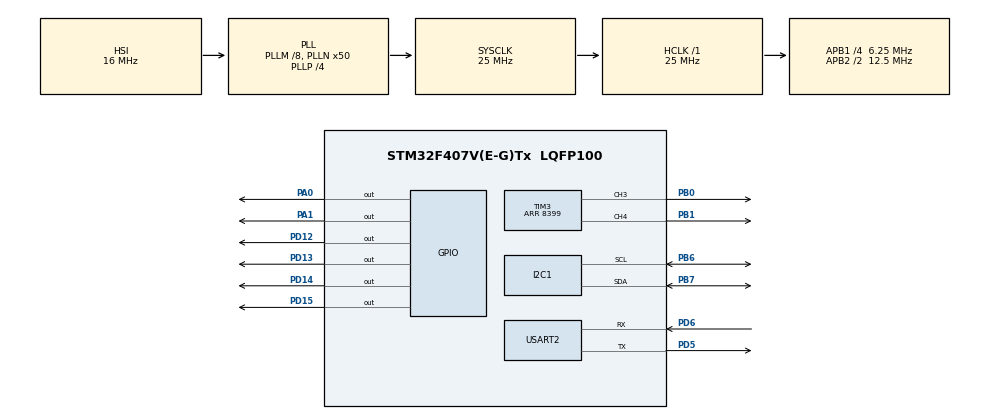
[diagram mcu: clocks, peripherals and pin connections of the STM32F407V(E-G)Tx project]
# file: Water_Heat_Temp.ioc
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FREERTOS.BinarySemaphores01=PID_TickSem,Dynamic,NULL,Available;Power_DoneSem,Dynamic,NULL,Available;BtnEventSem,Dynamic,NULL,Available;FaultTripSem,Dynamic,NULL,Available
FREERTOS.Mutexes01=LCD_Mutex,Dynamic,NULL,Available;UART_Mutex,Dynamic,NULL,Available;OneWire_Mutex,Dynamic,NULL,Available;PIDParam_Mutex,Dynamic,NULL,Available
FREERTOS.Queues01=TempQ,16,uint16_t,0,Dynamic,NULL,NULL;SetPointQ,16,uint16_t,0,Dynamic,NULL,NULL;PowerQ,16,uint16_t,0,Dynamic,NULL,NULL;FaultQ,16,uint16_t,0,Dynamic,NULL,NULL
FREERTOS.Tasks01=SafetyTask,24,256,StartSafetyTask,Default,NULL,Dynamic,NULL,NULL;PIDTask,8,256,StartPIDTask,Default,NULL,Dynamic,NULL,NULL;TempTask,8,256,StartTempTask,Default,NULL,Dynamic,NULL,NULL;PowerTask,8,256,StartPowerTask,Default,NULL,Dynamic,NULL,NULL;UITask,8,256,StartUITask,Default,NULL,Dynamic,NULL,NULL
FREERTOS.configUSE_NEWLIB_REENTRANT=1
Mcu.Family=STM32F4
Mcu.Name=STM32F407V(E-G)Tx
Mcu.Package=LQFP100
NVIC.PriorityGroup=NVIC_PRIORITYGROUP_4
NVIC.TIM6_DAC_IRQn=true\:0\:0\:false\:false\:true\:false\:false\:true\:true
NVIC.TimeBase=TIM6_DAC_IRQn
NVIC.TimeBaseIP=TIM6
PA0-WKUP.Signal=GPIO_Output
PA1.Signal=GPIO_Output
PB0.Signal=S_TIM3_CH3
PB1.Signal=S_TIM3_CH4
PB6.Mode=I2C
PB6.Signal=I2C1_SCL
PB7.Mode=I2C
PB7.Signal=I2C1_SDA
PD12.Signal=GPIO_Output
PD13.Signal=GPIO_Output
PD14.Signal=GPIO_Output
PD15.Signal=GPIO_Output
PD5.Mode=Asynchronous
PD5.Signal=USART2_TX
PD6.Mode=Asynchronous
PD6.Signal=USART2_RX
ProjectManager.HeapSize=0x200
ProjectManager.StackSize=0x400
ProjectManager.TargetToolchain=STM32CubeIDE
RCC.48MHZClocksFreq_Value=14285714.285714285
RCC.AHBFreq_Value=25000000
RCC.APB1CLKDivider=RCC_HCLK_DIV4
RCC.APB1Freq_Value=6250000
RCC.APB1TimFreq_Value=12500000
RCC.APB2CLKDivider=RCC_HCLK_DIV2
RCC.APB2Freq_Value=12500000
RCC.APB2TimFreq_Value=25000000
RCC.CortexFreq_Value=25000000
RCC.HCLKFreq_Value=25000000
RCC.HSE_VALUE=8000000
RCC.HSI_VALUE=16000000
RCC.LSE_VALUE=32768
RCC.PLLM=8
RCC.PLLN=50
RCC.PLLP=RCC_PLLP_DIV4
RCC.PLLQ=7
RCC.SYSCLKFreq_VALUE=25000000
RCC.SYSCLKSource=RCC_SYSCLKSOURCE_PLLCLK
RCC.VCOOutputFreq_Value=100000000
SH.S_TIM3_CH3.0=TIM3_CH3,PWM Generation3 CH3
SH.S_TIM3_CH4.0=TIM3_CH4,PWM Generation4 CH4
TIM3.Channel-PWM\ Generation3\ CH3=TIM_CHANNEL_3
TIM3.Channel-PWM\ Generation4\ CH4=TIM_CHANNEL_4
TIM3.Period=8399
USART2.VirtualMode=VM_ASYNC
VP_FREERTOS_VS_CMSIS_V2.Mode=CMSIS_V2
VP_SYS_VS_tim6.Mode=TIM6
board=STM32F407G-DISC1

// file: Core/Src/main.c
/* USER CODE BEGIN Header */
/**
 ******************************************************************************
 * @file           : main.c
 * @brief          : Main program body
 ******************************************************************************
 * @attention
 *
 * Copyright (c) 2025 STMicroelectronics.
 * All rights reserved.
 *
 * This software is licensed under terms that can be found in the LICENSE file
 * in the root directory of this software component.
 * If no LICENSE file comes with this software, it is provided AS-IS.
 *
 ******************************************************************************
 */
/* USER CODE END Header */
#include "main.h"
#include "cmsis_os.h"

/* USER CODE BEGIN Includes */
#include <stdio.h>
#include <string.h>
#include <math.h>

#include "lcd_i2c.h"   // I2C 16x2/20x4 LCD driver (LCD_Init, LCD_PrintAt, etc.)
#include "onewire.h"    // ONEWIRE_Init(), ONEWIRE_Reset(), byte/bit I/O, microsecond delays
#include "ds18b20.h"    // DS18B20_StartConversion_SkipROM(), DS18B20_ReadScratchpad()
#include "pid.h"
#include "bts7960_pwm.h"
#include "telemetry.h"

/* USER CODE END Includes */

/* USER CODE BEGIN PTD */

typedef enum {
	FAULT_NONE = 0,
	FAULT_OVERTEMP,
	FAULT_OVERCURRENT,
	FAULT_SENSOR_FAIL
} FaultCode_t;

typedef struct {
	float volts, amps, watts;
} PowerSample_t;

static volatile FaultCode_t g_fault = FAULT_NONE;

static PID_t g_pid;
/* USER CODE END PTD */

I2C_HandleTypeDef hi2c1;

TIM_HandleTypeDef htim3;

UART_HandleTypeDef huart2;

/* Definitions for SafetyTask */
osThreadId_t SafetyTaskHandle;
const osThreadAttr_t SafetyTask_attributes = {
		.name = "SafetyTask",
		.stack_size = 256 * 4,
		.priority = (osPriority_t) osPriorityNormal,
};
/* Definitions for PIDTask */
osThreadId_t PIDTaskHandle;
const osThreadAttr_t PIDTask_attributes = {
		.name = "PIDTask",
		.stack_size = 256 * 4,
		.priority = (osPriority_t) osPriorityLow,
};
/* Definitions for TempTask */
osThreadId_t TempTaskHandle;
const osThreadAttr_t TempTask_attributes = {
		.name = "TempTask",
		.stack_size = 256 * 4,
		.priority = (osPriority_t) osPriorityLow,
};
/* Definitions for PowerTask */
osThreadId_t PowerTaskHandle;
const osThreadAttr_t PowerTask_attributes = {
		.name = "PowerTask",
		.stack_size = 256 * 4,
		.priority = (osPriority_t) osPriorityLow,
};
/* Definitions for UITask */
osThreadId_t UITaskHandle;
const osThreadAttr_t UITask_attributes = {
		.name = "UITask",
		.stack_size = 256 * 4,
		.priority = (osPriority_t) osPriorityLow,
};
/* Definitions for TempQ */
osMessageQueueId_t TempQHandle;
const osMessageQueueAttr_t TempQ_attributes = {
		.name = "TempQ"
};
/* Definitions for SetPointQ */
osMessageQueueId_t SetPointQHandle;
const osMessageQueueAttr_t SetPointQ_attributes = {
		.name = "SetPointQ"
};
/* Definitions for PowerQ */
osMessageQueueId_t PowerQHandle;
const osMessageQueueAttr_t PowerQ_attributes = {
		.name = "PowerQ"
};
/* Definitions for FaultQ */
osMessageQueueId_t FaultQHandle;
const osMessageQueueAttr_t FaultQ_attributes = {
		.name = "FaultQ"
};
/* Definitions for LCD_Mutex */
osMutexId_t LCD_MutexHandle;
const osMutexAttr_t LCD_Mutex_attributes = {
		.name = "LCD_Mutex"
};
/* Definitions for UART_Mutex */
osMutexId_t UART_MutexHandle;
const osMutexAttr_t UART_Mutex_attributes = {
		.name = "UART_Mutex"
};
/* Definitions for OneWire_Mutex */
osMutexId_t OneWire_MutexHandle;
const osMutexAttr_t OneWire_Mutex_attributes = {
		.name = "OneWire_Mutex"
};
/* Definitions for PIDParam_Mutex */
osMutexId_t PIDParam_MutexHandle;
const osMutexAttr_t PIDParam_Mutex_attributes = {
		.name = "PIDParam_Mutex"
};
/* Definitions for PID_TickSem */
osSemaphoreId_t PID_TickSemHandle;
const osSemaphoreAttr_t PID_TickSem_attributes = {
		.name = "PID_TickSem"
};
/* Definitions for Power_DoneSem */
osSemaphoreId_t Power_DoneSemHandle;
const osSemaphoreAttr_t Power_DoneSem_attributes = {
		.name = "Power_DoneSem"
};
/* Definitions for BtnEventSem */
osSemaphoreId_t BtnEventSemHandle;
const osSemaphoreAttr_t BtnEventSem_attributes = {
		.name = "BtnEventSem"
};
/* Definitions for FaultTripSem */
osSemaphoreId_t FaultTripSemHandle;
const osSemaphoreAttr_t FaultTripSem_attributes = {
		.name = "FaultTripSem"
};

void SystemClock_Config(void);
static void MX_GPIO_Init(void);
static void MX_I2C1_Init(void);
static void MX_USART2_UART_Init(void);
static void MX_TIM3_Init(void);
void StartSafetyTask(void *argument);
void StartPIDTask(void *argument);
void StartTempTask(void *argument);
void StartPowerTask(void *argument);
void StartUITask(void *argument);

/* USER CODE BEGIN PFP */
/* Private function prototypes -----------------------------------------------*/

static inline void LCD_ShowFaultBanner(const char *line1, const char *line2);
static inline void LCD_ShowLinesNoClear(const char *l1, const char *l2);

/* USER CODE END PFP */

/* USER CODE BEGIN 0 */
int __io_putchar(int ch) {
	uint8_t c = (uint8_t)ch;
	HAL_UART_Transmit(&huart2, &c, 1, HAL_MAX_DELAY);
	return ch;
}

/* USER CODE END 0 */

int main(void)
{

	/* MCU Configuration--------------------------------------------------------*/

	/* Reset of all peripherals, Initializes the Flash interface and the Systick. */
	HAL_Init();

	/* Configure the system clock */
	SystemClock_Config();

	/* Initialize all configured peripherals */
	MX_GPIO_Init();
	MX_I2C1_Init();
	MX_USART2_UART_Init();
	MX_TIM3_Init();
	/* USER CODE BEGIN 2 */
	ONEWIRE_Init();   // sets PD7 to open-drain + pull-up and starts DWT microsecond timer
	// after MX_I2C1_Init(); (make sure I2C1 is initialized in CubeMX)
	// ...
	LCD_Init();        // init controller & clear    <-- one-time init
	LCD_SetBacklight(1);
	LCD_Clear();
	LCD_PrintAt(0,0, "System Starting...");

	BTS7960_PWM_Init(); // start TIM3 CH3/CH4 at 0% (PB0/PB1)

	//  Sample time: Release PID_TickSem every 200 ms (example). If you use a different period,
	//  set dt_s accordingly (e.g., 0.5f for 500 ms).
	// --- PID controller init (do this ONCE here) ---
	const float KP = 2.0f;
	const float KI = 0.25f;   // 1/s
	const float KD = 0.10f;    // s
	const float DT_S    = 0.2f;   // must match your PID tick period (see semaphore)
	const float OUT_MIN = 0.0f;   // 0% duty
	const float OUT_MAX = 100.0f; // 100% duty
	const float D_ALPHA = 0.2f;   // derivative smoothing

	PID_Init(&g_pid, KP, KI, KD, OUT_MIN, OUT_MAX, DT_S, D_ALPHA);
	/* USER CODE END 2 */

	/* Init scheduler */
	osKernelInitialize();
	/* Create the mutex(es) */
	/* creation of LCD_Mutex */
	LCD_MutexHandle = osMutexNew(&LCD_Mutex_attributes);

	/* creation of UART_Mutex */
	UART_MutexHandle = osMutexNew(&UART_Mutex_attributes);

	/* creation of OneWire_Mutex */
	OneWire_MutexHandle = osMutexNew(&OneWire_Mutex_attributes);

	/* creation of PIDParam_Mutex */
	PIDParam_MutexHandle = osMutexNew(&PIDParam_Mutex_attributes);

	/* Create the semaphores(s) */
	/* creation of PID_TickSem */
	PID_TickSemHandle = osSemaphoreNew(1, 1, &PID_TickSem_attributes);

	/* creation of Power_DoneSem */
	Power_DoneSemHandle = osSemaphoreNew(1, 1, &Power_DoneSem_attributes);

	/* creation of BtnEventSem */
	BtnEventSemHandle = osSemaphoreNew(1, 1, &BtnEventSem_attributes);

	/* creation of FaultTripSem */
	FaultTripSemHandle = osSemaphoreNew(1, 1, &FaultTripSem_attributes);

	/* USER CODE BEGIN RTOS_TIMERS */
	/* start timers, add new ones, ... */
	Telemetry_Init();   // creates Telemetry_Mutex + starts TelemetryTask (UART @ huart2)
	/* USER CODE END RTOS_TIMERS */

	/* Create the queue(s) */
	/* creation of TempQ */
	TempQHandle = osMessageQueueNew (16, sizeof(float), &TempQ_attributes);

	/* creation of SetPointQ */
	SetPointQHandle = osMessageQueueNew (16, sizeof(float), &SetPointQ_attributes);

	/* creation of PowerQ */
	PowerQHandle = osMessageQueueNew (16, sizeof(PowerSample_t), &PowerQ_attributes);

	/* creation of FaultQ */
	FaultQHandle = osMessageQueueNew (16, sizeof(FaultCode_t), &FaultQ_attributes);

	/* Create the thread(s) */
	/* creation of SafetyTask */
	SafetyTaskHandle = osThreadNew(StartSafetyTask, NULL, &SafetyTask_attributes);

	/* creation of PIDTask */
	PIDTaskHandle = osThreadNew(StartPIDTask, NULL, &PIDTask_attributes);

	/* creation of TempTask */
	TempTaskHandle = osThreadNew(StartTempTask, NULL, &TempTask_attributes);

	/* creation of PowerTask */
	PowerTaskHandle = osThreadNew(StartPowerTask, NULL, &PowerTask_attributes);

	/* creation of UITask */
	UITaskHandle = osThreadNew(StartUITask, NULL, &UITask_attributes);

	/* Start scheduler */
	osKernelStart();

	/* We should never get here as control is now taken by the scheduler */

	/* Infinite loop */
	while (1)
	{

	}
}

void SystemClock_Config(void)
{
	RCC_OscInitTypeDef RCC_OscInitStruct = {0};
	RCC_ClkInitTypeDef RCC_ClkInitStruct = {0};

	/** Configure the main internal regulator output voltage
	 */
	__HAL_RCC_PWR_CLK_ENABLE();
	__HAL_PWR_VOLTAGESCALING_CONFIG(PWR_REGULATOR_VOLTAGE_SCALE1);

	/** Initializes the RCC Oscillators according to the specified parameters
	 * in the RCC_OscInitTypeDef structure.
	 */
	RCC_OscInitStruct.OscillatorType = RCC_OSCILLATORTYPE_HSI;
	RCC_OscInitStruct.HSIState = RCC_HSI_ON;
	RCC_OscInitStruct.HSICalibrationValue = RCC_HSICALIBRATION_DEFAULT;
	RCC_OscInitStruct.PLL.PLLState = RCC_PLL_ON;
	RCC_OscInitStruct.PLL.PLLSource = RCC_PLLSOURCE_HSI;
	RCC_OscInitStruct.PLL.PLLM = 8;
	RCC_OscInitStruct.PLL.PLLN = 50;
	RCC_OscInitStruct.PLL.PLLP = RCC_PLLP_DIV4;
	RCC_OscInitStruct.PLL.PLLQ = 7;
	if (HAL_RCC_OscConfig(&RCC_OscInitStruct) != HAL_OK)
	{
		Error_Handler();
	}

	/** Initializes the CPU, AHB and APB buses clocks
	 */
	RCC_ClkInitStruct.ClockType = RCC_CLOCKTYPE_HCLK|RCC_CLOCKTYPE_SYSCLK
			|RCC_CLOCKTYPE_PCLK1|RCC_CLOCKTYPE_PCLK2;
	RCC_ClkInitStruct.SYSCLKSource = RCC_SYSCLKSOURCE_PLLCLK;
	RCC_ClkInitStruct.AHBCLKDivider = RCC_SYSCLK_DIV1;
	RCC_ClkInitStruct.APB1CLKDivider = RCC_HCLK_DIV4;
	RCC_ClkInitStruct.APB2CLKDivider = RCC_HCLK_DIV2;

	if (HAL_RCC_ClockConfig(&RCC_ClkInitStruct, FLASH_LATENCY_0) != HAL_OK)
	{
		Error_Handler();
	}
}

static void MX_I2C1_Init(void)
{

	hi2c1.Instance = I2C1;
	hi2c1.Init.ClockSpeed = 100000;
	hi2c1.Init.DutyCycle = I2C_DUTYCYCLE_2;
	hi2c1.Init.OwnAddress1 = 0;
	hi2c1.Init.AddressingMode = I2C_ADDRESSINGMODE_7BIT;
	hi2c1.Init.DualAddressMode = I2C_DUALADDRESS_DISABLE;
	hi2c1.Init.OwnAddress2 = 0;
	hi2c1.Init.GeneralCallMode = I2C_GENERALCALL_DISABLE;
	hi2c1.Init.NoStretchMode = I2C_NOSTRETCH_DISABLE;
	if (HAL_I2C_Init(&hi2c1) != HAL_OK)
	{
		Error_Handler();
	}

}

static void MX_TIM3_Init(void)
{

	TIM_MasterConfigTypeDef sMasterConfig = {0};
	TIM_OC_InitTypeDef sConfigOC = {0};

	htim3.Instance = TIM3;
	htim3.Init.Prescaler = 0;
	htim3.Init.CounterMode = TIM_COUNTERMODE_UP;
	htim3.Init.Period = 8399;
	htim3.Init.ClockDivision = TIM_CLOCKDIVISION_DIV1;
	htim3.Init.AutoReloadPreload = TIM_AUTORELOAD_PRELOAD_DISABLE;
	if (HAL_TIM_PWM_Init(&htim3) != HAL_OK)
	{
		Error_Handler();
	}
	sMasterConfig.MasterOutputTrigger = TIM_TRGO_RESET;
	sMasterConfig.MasterSlaveMode = TIM_MASTERSLAVEMODE_DISABLE;
	if (HAL_TIMEx_MasterConfigSynchronization(&htim3, &sMasterConfig) != HAL_OK)
	{
		Error_Handler();
	}
	sConfigOC.OCMode = TIM_OCMODE_PWM1;
	sConfigOC.Pulse = 0;
	sConfigOC.OCPolarity = TIM_OCPOLARITY_HIGH;
	sConfigOC.OCFastMode = TIM_OCFAST_DISABLE;
	if (HAL_TIM_PWM_ConfigChannel(&htim3, &sConfigOC, TIM_CHANNEL_3) != HAL_OK)
	{
		Error_Handler();
	}
	if (HAL_TIM_PWM_ConfigChannel(&htim3, &sConfigOC, TIM_CHANNEL_4) != HAL_OK)
	{
		Error_Handler();
	}
	HAL_TIM_MspPostInit(&htim3);

}

static void MX_USART2_UART_Init(void)
{

	huart2.Instance = USART2;
	huart2.Init.BaudRate = 115200;
	huart2.Init.WordLength = UART_WORDLENGTH_8B;
	huart2.Init.StopBits = UART_STOPBITS_1;
	huart2.Init.Parity = UART_PARITY_NONE;
	huart2.Init.Mode = UART_MODE_TX_RX;
	huart2.Init.HwFlowCtl = UART_HWCONTROL_NONE;
	huart2.Init.OverSampling = UART_OVERSAMPLING_16;
	if (HAL_UART_Init(&huart2) != HAL_OK)
	{
		Error_Handler();
	}

}

static void MX_GPIO_Init(void)
{
	GPIO_InitTypeDef GPIO_InitStruct = {0};

	/* GPIO Ports Clock Enable */
	__HAL_RCC_GPIOA_CLK_ENABLE();
	__HAL_RCC_GPIOB_CLK_ENABLE();
	__HAL_RCC_GPIOD_CLK_ENABLE();

	/*Configure GPIO pin Output Level */
	HAL_GPIO_WritePin(GPIOA, GPIO_PIN_0|GPIO_PIN_1, GPIO_PIN_SET);

	/*Configure GPIO pin Output Level */
	HAL_GPIO_WritePin(GPIOD, GPIO_PIN_12|GPIO_PIN_13|GPIO_PIN_14|GPIO_PIN_15, GPIO_PIN_RESET);

	/*Configure GPIO pins : PA0 PA1 */
	GPIO_InitStruct.Pin = GPIO_PIN_0|GPIO_PIN_1;
	GPIO_InitStruct.Mode = GPIO_MODE_OUTPUT_PP;
	GPIO_InitStruct.Pull = GPIO_NOPULL;
	GPIO_InitStruct.Speed = GPIO_SPEED_FREQ_LOW;
	HAL_GPIO_Init(GPIOA, &GPIO_InitStruct);

	/*Configure GPIO pins : PD12 PD13 PD14 PD15 */
	GPIO_InitStruct.Pin = GPIO_PIN_12|GPIO_PIN_13|GPIO_PIN_14|GPIO_PIN_15;
	GPIO_InitStruct.Mode = GPIO_MODE_OUTPUT_PP;
	GPIO_InitStruct.Pull = GPIO_NOPULL;
	GPIO_InitStruct.Speed = GPIO_SPEED_FREQ_LOW;
	HAL_GPIO_Init(GPIOD, &GPIO_InitStruct);

}

/* USER CODE BEGIN 4 */
// Immediate, short FAULT banner for emergencies (SafetyTask may call this)
static inline void LCD_ShowFaultBanner(const char *line1, const char *line2)
{
	if (osMutexAcquire(LCD_MutexHandle, 10) == osOK) {
		LCD_Clear();                    // (driver already waits the required time)
		LCD_PrintAt(0,0, line1);        // top line
		LCD_PrintAt(0,1, line2);        // second line (adjust if 20x4)
		osMutexRelease(LCD_MutexHandle);
	}
}

// For regular UI refreshes (no clear → minimal flicker)
// Pads lines to 16 chars so old characters don’t linger.
static inline void LCD_ShowLinesNoClear(const char *l1, const char *l2)
{
	char line1[24], line2[24];
	snprintf(line1, sizeof(line1), "%-16.16s", l1);
	snprintf(line2, sizeof(line2), "%-16.16s", l2);

	if (osMutexAcquire(LCD_MutexHandle, 10) == osOK) {
		LCD_PrintAt(0,0, line1);
		LCD_PrintAt(0,1, line2);
		osMutexRelease(LCD_MutexHandle);
	}
}
/* USER CODE END 4 */

/* USER CODE BEGIN Header_StartSafetyTask */
/**
 * @brief  Function implementing the SafetyTask thread.
 * @param  argument: Not used
 * @retval None
 */

/* ===================== Task stubs ===================== */
/* USER CODE END Header_StartSafetyTask */
void StartSafetyTask(void *argument)
{
	/* USER CODE BEGIN 5 */
	/* Infinite loop */
	(void)argument;

	FaultCode_t fault;

//	for (;;) {
//
//		// React if EITHER a queued code is available OR a trip sem arrives.
//		if (osMessageQueueGet(FaultQHandle, &fault, NULL, 0) == osOK ||osSemaphoreAcquire(FaultTripSemHandle, 0) == osOK) {
//
//			// If we didn't get a code from the queue yet, try again quickly;
//			// if still none, fall back to a sensible default
//			if (osMessageQueueGet(FaultQHandle, &fault, NULL, 0) != osOK) {
//				fault = FAULT_NONE;  // fallback reason
//			}
//
//			// 1) Trip immediately: force heater OFF
//			BTS7960_SetDuty_CH3(0);
//
//			// 2) Latch the code for UI
//			g_fault = fault;
//
//			// 3) Wake UI to redraw the FAULT screen now
//			osSemaphoreRelease(BtnEventSemHandle);
//		}
//
//		osDelay(10);// runs every 10 ms
//	}

	for (;;) {
	    // Wait until FaultTripSem is given by another task / Keep me asleep until something happens (fault in queue or trip semaphore)
	    osSemaphoreAcquire(FaultTripSemHandle, osWaitForever);

	    // Try to read a code from the queue
	    if (osMessageQueueGet(FaultQHandle, &fault, NULL, 0) != osOK) {
	      fault = FAULT_NONE;   // default reason if queue was empty
	    }

	    // 1) Turn heater OFF
	    BTS7960_SetDuty_CH3(0);

	    // 2) Remember the fault for UI
	    g_fault = fault;

	    // 3) Wake UI so it redraws with the FAULT screen
	    osSemaphoreRelease(BtnEventSemHandle);
	  }

	/* USER CODE END 5 */
}

void StartPIDTask(void *argument)
{
	/* USER CODE BEGIN StartPIDTask */
	/* Infinite loop */
	(void)argument;

	//float temp;
	//float setpt  ;

	// Keep the last known values so we never use uninitialized data
	  float last_temp = 25.0f;   // start assumption
	  float last_sp   = 50.0f;   // seed this in UI or main() too
	  const float EPS = 2.2f;    // small deadband (°C) to avoid chatter near setpoint

	for (;;) {
		//	    // 1) Wait for the sample tick (post PID_TickSem every DT_S seconds)
		//	    //osSemaphoreAcquire(PID_TickSemHandle, osWaitForever);
		//
		//	    // 2) Grab latest measurement + setpoint (non-blocking reads are fine)
		//	    (void)osMessageQueueGet(TempQHandle,     &temp_c, NULL, 0);
		//	    (void)osMessageQueueGet(SetPointQHandle, &setpt,  NULL, 0);
		//
		//	    // 3) Sensor failure sentinel from TempTask => heater OFF
		//	    if (temp_c < -999.0f) {
		//	      BTS7960_SetDuty_CH3(0.0f);
		//	      continue;
		//	    }
		//
		//	    // 4) Mutexed tunings read (keeps your original pattern and allows future live-tuning)
		//	    osMutexAcquire(PIDParam_MutexHandle, osWaitForever);
		//	    float kp = g_pid.kp, ki = g_pid.ki, kd = g_pid.kd;  // currently the same values set in main()
		//	    osMutexRelease(PIDParam_MutexHandle);
		//
		//	    // If you later change KP/KI/KD elsewhere under the same mutex, this applies them safely:
		//	    PID_SetTunings(&g_pid, kp, ki, kd);
		//
		//	    // 5) Compute control (percent duty due to output limits in PID_Init)
		//	    float duty = PID_Compute(&g_pid, setpt, temp_c);
		//
		//	    // 6) Extra explicit clamp (redundant)
		//	    if (duty < 0.0f)   duty = 0.0f;
		//	    if (duty > 100.0f) duty = 100.0f;
		//
		//	    // 7) Drive BTS7960 (single-direction heater)
		//	    BTS7960_SetDuty_CH3(duty);

		// run PID every 200 ms
		// 1) Try to get newest TEMP and SETPOINT (non-blocking). If there’s nothing, keep last_*.
		    float t_in, sp_in;
		    if (osMessageQueueGet(TempQHandle, &t_in, NULL, 0) == osOK) {
		      last_temp = t_in;
		    }
		    if (osMessageQueueGet(SetPointQHandle, &sp_in, NULL, 0) == osOK) {
		      last_sp = sp_in;
		    }

		    // 2) Sensor-failure sentinel: if TEMP < -999, force heater OFF and skip PID
		    if (last_temp < -999.0f) {
		      BTS7960_SetDuty_CH3(0.0f);
		      BTS7960_SetDuty_CH4(0.0f);
		      osDelay(200);                 // MUST match PID_Init dt_s (0.2 s)
		      continue;
		    }

		    // 3) Optional guard: if we are already at/above setpoint (within EPS), don’t heat.
		    //    This makes behavior intuitive for beginners. PID would also trend to ~0% anyway.
		    float duty = 0.0f;
		    if (last_temp < (last_sp - EPS)) {
		      // (Optional) still allow live-tuning; otherwise you can just remove the mutex reads.
		      osMutexAcquire(PIDParam_MutexHandle, osWaitForever);
		      float kp = g_pid.kp, ki = g_pid.ki, kd = g_pid.kd;
		      osMutexRelease(PIDParam_MutexHandle);
		      PID_SetTunings(&g_pid, kp, ki, kd);

		      duty = PID_Compute(&g_pid, last_sp, last_temp);
		      if (duty < 0.0f)
		    	  duty = 0.0f;
		      if (duty > 100.0f)
		    	  duty = 100.0f;
		    } else {
		      duty = 0.0f;  // above (or very near) setpoint → no heating
		    }

		    // 4) Drive the H-bridge for heating: CH3 = duty, CH4 = 0 (avoid braking)
		    BTS7960_SetDuty_CH3(duty);
		    BTS7960_SetDuty_CH4(0.0f);

		    // 5) Fixed-rate loop: keep this equal to dt_s you used in PID_Init
		    osDelay(200);   // 200 ms → dt_s = 0.2f
		  }
	/* USER CODE END StartPIDTask */
}

/* USER CODE BEGIN Header_StartTempTask */
/**
  * Temperature producer task:
 * - Sole owner of the DS18B20 sensor read.
 * - Publishes ONLY the freshest, clean value to TempQ (float).
 * - Debounces brief sensor glitches; raises a fault only after consecutive fails.
 * - UI and PID just consume from TempQ; no filtering needed downstream.
 */
/* USER CODE END Header_StartTempTask */
void StartTempTask(void *argument)
{
	/* USER CODE BEGIN StartTempTask */
	/* Infinite loop */
	(void)argument;

	  DS18B20_Init(25.0f);  // seed at boot with a reasonable ambient

	  for (;;) {
	    float temp_c = 0.0f;
	    bool  trip_now = false;

	    // Own the 1-Wire bus while reading
	    if (osMutexAcquire(OneWire_MutexHandle, osWaitForever) == osOK) {
	      (void)DS18B20_ReadTempC_Watchdog(&temp_c, &trip_now);
	      osMutexRelease(OneWire_MutexHandle);
	    }

	    if (trip_now) {
	      // The driver decided we've gone >15s without a good read
	      FaultCode_t f = FAULT_SENSOR_FAIL;
	      (void)osMessageQueuePut(FaultQHandle, &f, 0, 0);
	      osSemaphoreRelease(FaultTripSemHandle);
	    }

	    Telemetry_UpdateTemp(temp_c);
	    // Publish ONLY the newest value (float queue!)
	    while (osMessageQueueGetCount(TempQHandle) > 0) {
	      float junk;
	      (void)osMessageQueueGet(TempQHandle, &junk, NULL, 0);
	    }
	    (void)osMessageQueuePut(TempQHandle, &temp_c, 0, 0);

	    // If you want PID to step each time:
	    // osSemaphoreRelease(PID_TickSemHandle);

	    osDelay(50); // conversion time (~750–800 ms) dominates
	  }
	/* USER CODE END StartTempTask */
}

void StartPowerTask(void *argument)
{
	/* USER CODE BEGIN StartPowerTask */
	/* Infinite loop */
	(void)argument;
	for (;;) {
		osSemaphoreAcquire(Power_DoneSemHandle, osWaitForever);

		PowerSample_t p = {0};
		// p = power_sensor_read_frame();  // compute volts/amps/watts/ return an arrys

		(void)osMessageQueuePut(PowerQHandle, &p, 0, 0);

		if (/* p.watts > limit */ 0) {// we have to have a limit of power
			FaultCode_t f = FAULT_OVERCURRENT;
			(void)osMessageQueuePut(FaultQHandle, &f, 0, 0);
			osSemaphoreRelease(FaultTripSemHandle);
		}
	}
	/* USER CODE END StartPowerTask */
}

void StartUITask(void *argument)
{
	/* USER CODE BEGIN StartUITask */
	/* Infinite loop */
	(void)argument;

	float last_temp  = 0.0f;
	float set_point  = 30.0f;   // default setpoint
	float last_watts = 0.0f;
	const char *mode;
	const float threshold = 2.0f;  // 2% threshold to avoid flicker

	// One-time publish so the rest of the system knows our starting SP
	(void)osMessageQueuePut(SetPointQHandle, &set_point, 0, 0);
	Telemetry_UpdateSetpoint(set_point);

	for (;;) {
		//		// WAKE ON IN BUTTONS OPTION
		//		if (osSemaphoreAcquire(BtnEventSemHandle, 50) == osOK) {
		//			// debounce; update setpoint if changed:
		//			(void)osMessageQueuePut(SetPointQHandle, &set_point, 0, 0);
		//			Telemetry_UpdateSetpoint(set_point);
		//
		//		}

		// Fetch latest values
		(void)osMessageQueueGet(TempQHandle,  &last_temp, NULL, 0);

		PowerSample_t power;
		if (osMessageQueueGet(PowerQHandle, &power, NULL, 0) == osOK)
			last_watts = power.watts;

		// If fault latched => show FAULT banner (UI is the only printer)
		if (g_fault != FAULT_NONE) {
			switch (g_fault) {
			case FAULT_OVERTEMP:
				LCD_ShowFaultBanner("FAULT: OVERTEMP", "Heater  OFF     ");
				break;
			case FAULT_OVERCURRENT:
				LCD_ShowFaultBanner("FAULT: OVERCURR", "Heater  OFF     ");
				break;
			case FAULT_SENSOR_FAIL:
				LCD_ShowFaultBanner("FAULT: SENSOR  ", "Check wiring    ");
				break;
			default:
				LCD_ShowFaultBanner("!!!   FAULT   !!!", "Heater  OFF     ");
				break;
			}
			osDelay(200);
			continue; // keep showing the banner until g_fault is cleared
		}

		// Get current PWM duty (percentage)
		float duty = BTS7960_GetDuty_CH3();   // or CH3 channel drives the heater
		if (duty > threshold) {
		    mode = "HEAT";
		} else {
		    mode = "IDLE";
		}

		char l1[24], l2[24];
		// fills them with formatted tex
		snprintf(l1, sizeof(l1), "P:%5.1fW T:%4.1f", last_watts, last_temp);
		snprintf(l2, sizeof(l2), "SP:%4.1f  %s",     set_point,   mode);

		// Smooth update (no LCD_Clear => minimal flicker)
		LCD_ShowLinesNoClear(l1, l2);

		osDelay(200); // ~5 Hz refresh
	}
	/* USER CODE END StartUITask */
}

void HAL_TIM_PeriodElapsedCallback(TIM_HandleTypeDef *htim)
{
	if (htim->Instance == TIM6)
	{
		HAL_IncTick();
	}
}

void Error_Handler(void)
{
	__disable_irq();
	while (1)
	{
	}
}
